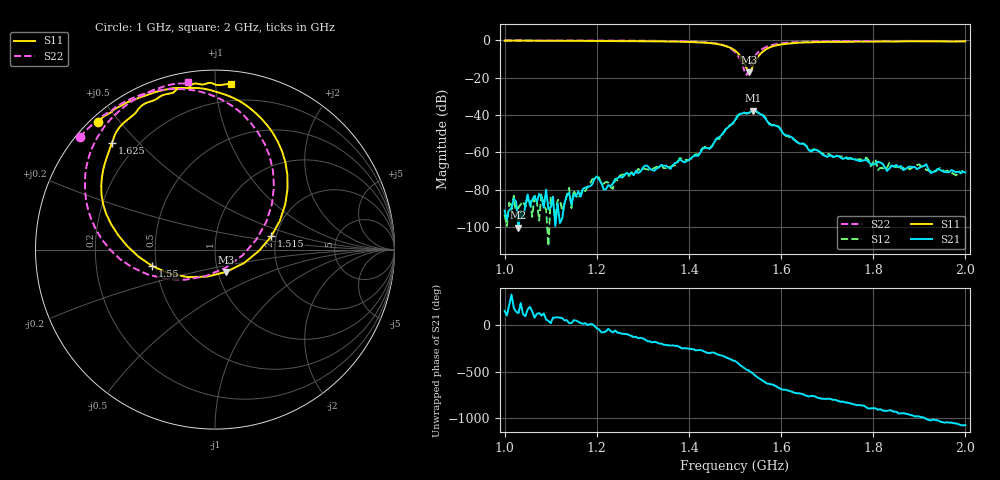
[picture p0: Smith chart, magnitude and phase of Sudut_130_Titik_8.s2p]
# Hz S RI R 50
! CMT, C1220, 16058040, 17.2.0/1
! Date: 14/08/2018 12:06:03
! Data: Format (Calibration Info)
! Freq  S11: Re/Im (F2)  S21: Re/Im (F2)  S12: Re/Im (F2)  S22: Re/Im (F2)
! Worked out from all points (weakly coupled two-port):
!   201 points, 1 GHz to 2 GHz, reference 50 ohm
!   highest |S21| = -37.71 dB at 1.54 GHz (marker M1); lowest = -100.3 dB at 1.03 GHz (marker M2)
!   lowest |S11| = -17.2 dB at 1.53 GHz (marker M3), VSWR 1.32, Z = 54.7 - j13.9 ohm
!   |S11| at or under -10 dB: 1.515 GHz to 1.547 GHz (31.7 MHz wide, 2.07 % of centre)
!   |S22| runs from -18.6 to -0.2 dB; largest |S21 - S12| = 0.00054
!   S11 on the Smith chart (normalised r, x): 1 GHz: 0.02, +0.44; 1.515 GHz: 1.88, +0.31; 1.55 GHz: 0.48, -0.10; 1.625 GHz: 0.11, +0.42; 2 GHz: 0.09, +1.09
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1e9  -0.6544 0.71  -2.57e-05 1.12e-05  -1.4e-05 -1.66e-05  -0.7534 0.6257
1.03e9  -0.6315 0.7317  -6.38e-06 7.26e-06  2.01e-05 2.66e-05  -0.7331 0.6483
1.17e9  -0.4864 0.8215  0.000102 2.88e-05  7.64e-05 6.66e-05  -0.6163 0.7515
1.2e9  -0.445 0.8368  0.00019 -0.000124  0.000181 -0.00013  -0.5821 0.765
1.215e9  -0.4315 0.8429  2.73e-05 -9.87e-05  9.43e-05 -0.000112  -0.5754 0.7734
1.235e9  -0.3976 0.8545  3.51e-05 -0.000144  -7.54e-06 -0.000106  -0.5544 0.793
1.25e9  -0.3695 0.8643  2.91e-05 -0.000221  8.44e-05 -0.000226  -0.5355 0.8048
1.335e9  -0.229 0.8996  -0.000379 0.000115  -0.000394 8.9e-05  -0.3996 0.8662
1.445e9  0.1465 0.8219  0.000654 0.00106  0.00072 0.00104  -0.00757 0.8558
1.5e9  0.4039 0.3377  0.0065 -0.00307  0.00613 -0.00292  0.3285 0.3517
1.515e9  0.3134 0.0738  0.00117 -0.0108  0.00148 -0.0109  0.2295 0.0547
1.53e9  0.0618 -0.1243  -0.00722 -0.00877  -0.00722 -0.00882  -0.0518 -0.1478
1.54e9  -0.1521 -0.1533  -0.0126 -0.00321  -0.0124 -0.00328  -0.2754 -0.1637
1.55e9  -0.3493 -0.092  -0.0103 0.00516  -0.0105 0.00477  -0.4602 -0.0996
1.625e9  -0.5732 0.5961  0.00245 -8.05e-05  0.00233 1.82e-05  -0.701 0.5213
1.67e9  -0.4626 0.7436  0.00082 -0.000796  0.000911 -0.000815  -0.6247 0.6734
1.785e9  -0.2358 0.873  -0.000612 -0.000138  -0.000707 -0.000187  -0.4446 0.8379
1.795e9  -0.2253 0.8812  -0.000475 -1.59e-05  -0.000418 9.53e-05  -0.4301 0.8462
1.805e9  -0.2138 0.8923  -0.000486 -1.4e-05  -0.000629 0.00019  -0.4158 0.8545
1.81e9  -0.2064 0.8968  -0.000549 0.00012  -0.000338 2.45e-05  -0.409 0.8584
1.835e9  -0.1606 0.8994  -0.00035 0.000117  -0.000477 0.000213  -0.3753 0.8748
2e9  0.0864 0.9212  0.000291 3.57e-06  0.000342 2.16e-05  -0.1504 0.9335
